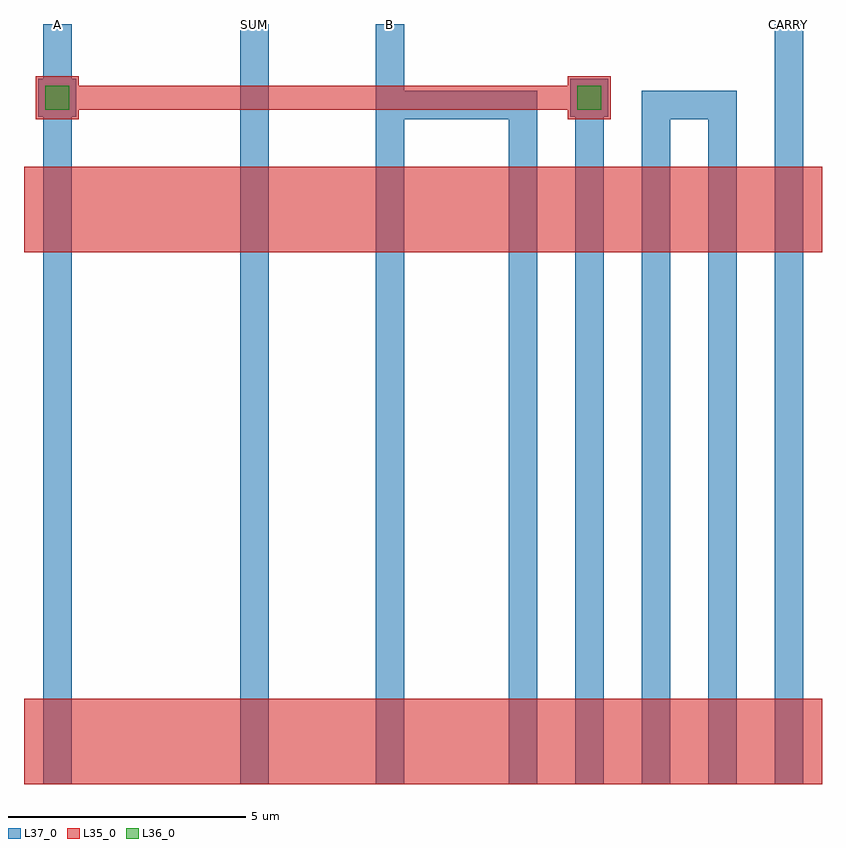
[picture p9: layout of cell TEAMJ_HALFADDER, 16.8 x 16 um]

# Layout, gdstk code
import gdstk
lib = gdstk.Library(unit=1e-6, precision=1e-09)
def R(c, l, rs):  # rectangles x0, y0, x1, y1
    for r in rs: c.add(gdstk.rectangle(r[:2], r[2:], *l))
L35_0 = (35, 0)
L36_0 = (36, 0)
L37_0 = (37, 0)

via1 = lib.new_cell('VIA1')
R(via1, L35_0, [(-0.45,-0.45,0.45,0.45)])
R(via1, L36_0, [(-0.25,-0.25,0.25,0.25)])
R(via1, L37_0, [(-0.4,-0.4,0.4,0.4)])

inv1_h = lib.new_cell('INV1_H')
inv1_h.add(gdstk.FlexPath([(2.8,0.9),(0,0.9)], 1.8, ends="flush", simple_path=True, layer=35, datatype=0))  # L35_0
inv1_h.add(gdstk.FlexPath([(2.8,12.1),(0,12.1)], 1.8, ends="flush", simple_path=True, layer=35, datatype=0))  # L35_0
inv1_h.add(gdstk.FlexPath([(2.1,0),(2.1,13)], 0.6, ends="flush", simple_path=True, layer=37, datatype=0))  # L37_0
inv1_h.add(gdstk.FlexPath([(0.7,13),(0.7,0)], 0.6, ends="flush", simple_path=True, layer=37, datatype=0))  # L37_0
inv1_h.add(gdstk.Label('INV1', (1.4,6.5), layer=61, texttype=0))
inv1_h.add(gdstk.Label('GND', (2.8,0.9), layer=35, texttype=0))
inv1_h.add(gdstk.Label('VDD', (2.8,12.1), layer=35, texttype=0))
inv1_h.add(gdstk.Label('Q', (2.1,0), layer=37, texttype=0))
inv1_h.add(gdstk.Label('A', (0.7,0), layer=37, texttype=0))
inv1_h.add(gdstk.Label('Q', (2.1,13), layer=37, texttype=0))
inv1_h.add(gdstk.Label('A', (0.7,13), layer=37, texttype=0))
inv1_h.add(gdstk.Label('GND', (0,0.9), layer=35, texttype=0))
inv1_h.add(gdstk.Label('VDD', (0,12.1), layer=35, texttype=0))

nand21_h = lib.new_cell('NAND21_H')
R(nand21_h, L35_0, [(0,0,4.2,1.8), (0,11.2,4.2,13)])
nand21_h.add(gdstk.FlexPath([(3.5,0),(3.5,13)], 0.6, ends="flush", simple_path=True, layer=37, datatype=0))  # L37_0
nand21_h.add(gdstk.FlexPath([(2.1,13),(2.1,0)], 0.6, ends="flush", simple_path=True, layer=37, datatype=0))  # L37_0
nand21_h.add(gdstk.FlexPath([(0.7,0),(0.7,13)], 0.6, ends="flush", simple_path=True, layer=37, datatype=0))  # L37_0
nand21_h.add(gdstk.Label('NAND21', (2.1,6.5), layer=61, texttype=0))
nand21_h.add(gdstk.Label('Q', (3.5,0), layer=37, texttype=0))
nand21_h.add(gdstk.Label('A', (2.1,0), layer=37, texttype=0))
nand21_h.add(gdstk.Label('B', (0.7,0), layer=37, texttype=0))
nand21_h.add(gdstk.Label('Q', (3.5,13), layer=37, texttype=0))
nand21_h.add(gdstk.Label('A', (2.1,13), layer=37, texttype=0))
nand21_h.add(gdstk.Label('B', (0.7,13), layer=37, texttype=0))
nand21_h.add(gdstk.Label('vdd', (0,12.1), layer=35, texttype=0))
nand21_h.add(gdstk.Label('vdd', (4.2,12.1), layer=35, texttype=0))
nand21_h.add(gdstk.Label('gnd', (0,0.9), layer=35, texttype=0))
nand21_h.add(gdstk.Label('gnd', (4.2,0.9), layer=35, texttype=0))

xor21_h = lib.new_cell('XOR21_H')
R(xor21_h, L35_0, [(0,0,9.8,1.8), (0,11.2,9.8,13)])
xor21_h.add(gdstk.FlexPath([(7.7,0),(7.7,13)], 0.6, ends="flush", simple_path=True, layer=37, datatype=0))  # L37_0
xor21_h.add(gdstk.FlexPath([(4.85,13),(4.85,0)], 0.6, ends="flush", simple_path=True, layer=37, datatype=0))  # L37_0
xor21_h.add(gdstk.FlexPath([(0.7,0),(0.7,13)], 0.6, ends="flush", simple_path=True, layer=37, datatype=0))  # L37_0
xor21_h.add(gdstk.Label('XOR21', (4.9,6.5), layer=61, texttype=0))
xor21_h.add(gdstk.Label('B', (7.7,13), layer=37, texttype=0))
xor21_h.add(gdstk.Label('Q', (4.85,13), layer=37, texttype=0))
xor21_h.add(gdstk.Label('A', (0.7,13), layer=37, texttype=0))
xor21_h.add(gdstk.Label('B', (7.7,0), layer=37, texttype=0))
xor21_h.add(gdstk.Label('Q', (4.85,0), layer=37, texttype=0))
xor21_h.add(gdstk.Label('A', (0.7,0), layer=37, texttype=0))
xor21_h.add(gdstk.Label('vdd', (0,12.1), layer=35, texttype=0))
xor21_h.add(gdstk.Label('vdd', (9.8,12.1), layer=35, texttype=0))
xor21_h.add(gdstk.Label('gnd', (0,0.9), layer=35, texttype=0))
xor21_h.add(gdstk.Label('gnd', (9.8,0.9), layer=35, texttype=0))

teamj_halfadder = lib.new_cell('TEAMJ_HALFADDER')
R(teamj_halfadder, L37_0, [(3.9,8.1,4.5,9.5)])
teamj_halfadder.add(gdstk.FlexPath([(7.95,7.95),(-2.35,7.95)], 0.5, ends="flush", simple_path=True, layer=35, datatype=0))  # L35_0
teamj_halfadder.add(gdstk.FlexPath([(1.35,9.5),(1.35,6.5)], 0.6, ends="flush", simple_path=True, layer=37, datatype=0))  # L37_0
teamj_halfadder.add(gdstk.FlexPath([(12.6,9.5),(12.6,6.5)], 0.6, ends="flush", simple_path=True, layer=37, datatype=0))  # L37_0
teamj_halfadder.add(gdstk.FlexPath([(-2.8,9.5),(-2.8,8.35)], 0.6, ends="flush", simple_path=True, layer=37, datatype=0))  # L37_0
teamj_halfadder.add(gdstk.FlexPath([(-2.8,7.55),(-2.8,6.5)], 0.6, ends="flush", simple_path=True, layer=37, datatype=0))  # L37_0
teamj_halfadder.add(gdstk.FlexPath([(8.4,7.55),(8.4,6.5)], 0.6, ends="flush", simple_path=True, layer=37, datatype=0))  # L37_0
teamj_halfadder.add(gdstk.FlexPath([(7,6.5),(7,7.8),(4.2,7.8),(4.2,6.5)], 0.6, ends="flush", simple_path=True, layer=37, datatype=0))  # L37_0
teamj_halfadder.add(gdstk.FlexPath([(11.2,6.5),(11.2,7.8),(9.8,7.8),(9.8,6.5)], 0.6, ends="flush", simple_path=True, layer=37, datatype=0))  # L37_0
teamj_halfadder.add(gdstk.Reference(via1, (-2.8,7.95)))
teamj_halfadder.add(gdstk.Reference(via1, (8.4,7.95)))
teamj_halfadder.add(gdstk.Reference(inv1_h, (10.5,-6.5)))
teamj_halfadder.add(gdstk.Reference(nand21_h, (6.3,-6.5)))
teamj_halfadder.add(gdstk.Reference(xor21_h, (-3.5,-6.5)))
teamj_halfadder.add(gdstk.Label('SUM', (1.35,9.5), layer=37, texttype=0))
teamj_halfadder.add(gdstk.Label('CARRY', (12.6,9.5), layer=37, texttype=0))
teamj_halfadder.add(gdstk.Label('B', (4.2,9.5), layer=37, texttype=0))
teamj_halfadder.add(gdstk.Label('A', (-2.8,9.5), layer=37, texttype=0))

lib.write_gds('TEAMJ_HALFADDER.gds')
